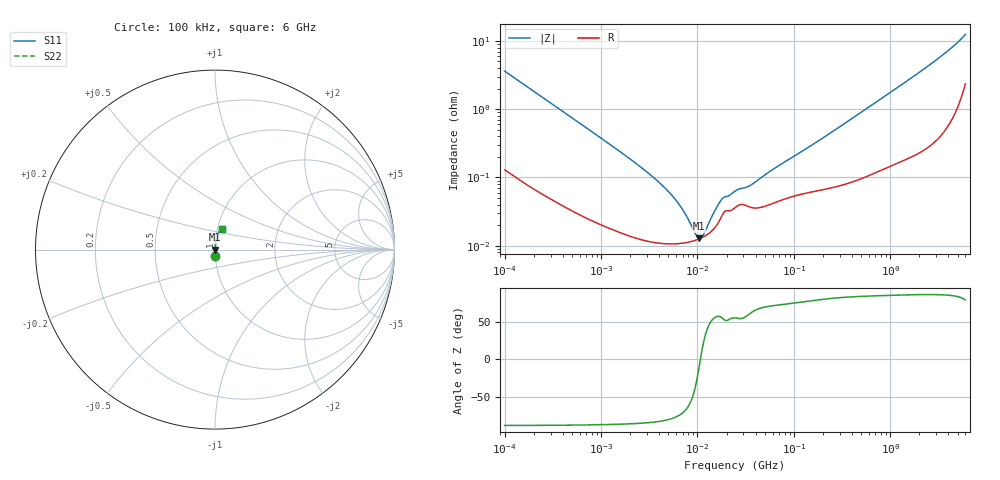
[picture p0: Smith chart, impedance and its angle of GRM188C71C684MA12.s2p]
!Murata Part Number: GRM188C71C684MA12
!These Parameters are Measured in Series Mode Connection
!Data Generated on Mar 30, 2021
!  o--ll--o
!Port1  Port2
!  o------o
!Operation Temp=25[degC], DC Bias Voltage=0[V]
!Freq. Start=100[kHz] Stop=6[GHz] 401[Steps]
# Hz S RI R 50
!Freq.(Hz) S11(Real) S11(Imag) S21(Real) S21(Imag) S12(Real) S12(Imag) S22(Real) S22(Imag)
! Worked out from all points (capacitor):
!   401 points, 100 kHz to 6 GHz, reference 50 ohm
!   read as one part in series: C = 438 nF near 105.7 kHz
!   lowest |Z| = 12.7 mohm at 10.44 MHz (marker M1)
!   series resonance near 10.72 MHz, so ESL is about 500 pH
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100000  0.00259 -0.036  0.9974 0.036  0.9974 0.036  0.00259 -0.036
631452  0.000308 -0.00593  0.9997 0.00593  0.9997 0.00593  0.000308 -0.00593
2060590  0.000139 -0.0018  0.9999 0.0018  0.9999 0.0018  0.000139 -0.0018
3987316  0.000109 -0.000842  0.9999 0.000842  0.9999 0.000842  0.000109 -0.000842
5107273  0.000107 -0.000592  0.9999 0.000592  0.9999 0.000592  0.000107 -0.000592
6364321  0.000107 -0.000399  0.9999 0.000399  0.9999 0.000399  0.000107 -0.000399
7715601  0.000111 -0.000246  0.9999 0.000246  0.9999 0.000246  0.000111 -0.000246
9614634  0.00012 -8.07e-05  0.9999 8.07e-05  0.9999 8.07e-05  0.00012 -8.07e-05
1.044164e7  0.000126 -1.96e-05  0.9999 1.96e-05  0.9999 1.96e-05  0.000126 -1.96e-05
1.103214e7  0.00013 2.13e-05  0.9999 -2.13e-05  0.9999 -2.13e-05  0.00013 2.13e-05
1.165602e7  0.000136 6.25e-05  0.9999 -6.25e-05  0.9999 -6.25e-05  0.000136 6.25e-05
1.492997e7  0.000179 0.000258  0.9998 -0.000258  0.9998 -0.000258  0.000179 0.000258
1.760885e7  0.00026 0.000387  0.9997 -0.000387  0.9997 -0.000387  0.00026 0.000387
1.860466e7  0.000301 0.000407  0.9997 -0.000407  0.9997 -0.000407  0.000301 0.000407
2.134758e7  0.000325 0.000435  0.9997 -0.000435  0.9997 -0.000435  0.000325 0.000435
2.517799e7  0.000371 0.000529  0.9996 -0.000529  0.9996 -0.000529  0.000371 0.000529
3.60007e7  0.000364 0.000687  0.9996 -0.000687  0.9996 -0.000687  0.000364 0.000687
6.240487e7  0.000425 0.00128  0.9996 -0.00128  0.9996 -0.00128  0.000425 0.00128
1.546735e8  0.000622 0.00293  0.9994 -0.00293  0.9994 -0.00293  0.000622 0.00293
9.76689e8  0.00173 0.0171  0.9983 -0.0171  0.9983 -0.0171  0.00173 0.0171
3.016594e9  0.00627 0.0525  0.9937 -0.0525  0.9937 -0.0525  0.00627 0.0525
6e9  0.0367 0.115  0.9633 -0.115  0.9633 -0.115  0.0367 0.115
